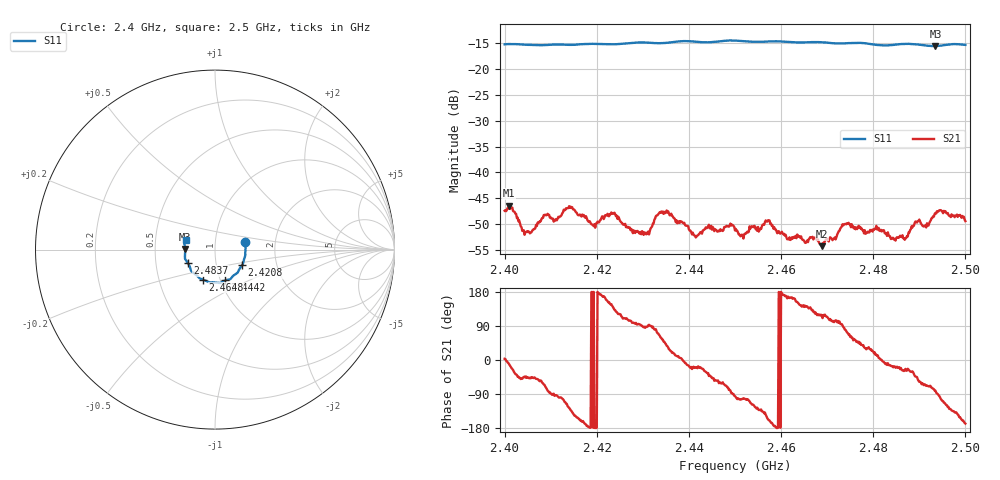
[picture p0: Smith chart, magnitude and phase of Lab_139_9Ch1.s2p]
# Hz S RI R 50
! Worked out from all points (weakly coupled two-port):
!   601 points, 2.4 GHz to 2.5 GHz, reference 50 ohm
!   highest |S21| = -46.41 dB at 2.401 GHz (marker M1); lowest = -54.3 dB at 2.4688 GHz (marker M2)
!   lowest |S11| = -15.6 dB at 2.4935 GHz (marker M3), VSWR 1.40, Z = 35.8 + j0.221 ohm
!   |S11| at or under -10 dB: start of sweep to end of sweep
!   S12 and S22 are empty: the file has one direction only
!   S11 on the Smith chart (normalised r, x): 2.4 GHz: 1.40, +0.12; 2.4208 GHz: 1.33, -0.24; 2.4442 GHz: 1.05, -0.37; 2.4648 GHz: 0.83, -0.29; 2.4837 GHz: 0.73, -0.11; 2.5 GHz: 0.72, +0.08
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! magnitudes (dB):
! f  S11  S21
! 2.4 GHz  -15.3  -47.4
! 2.401 GHz  -15.2  -46.4
! 2.4048 GHz  -15.3  -51.4
! 2.4138 GHz  -15.4  -46.9
! 2.4167 GHz  -15.2  -48.5
! 2.4208 GHz  -15.2  -49.2
! 2.4235 GHz  -15.2  -48.0
! 2.4308 GHz  -14.9  -51.9
! 2.4333 GHz  -15.0  -48.1
! 2.4415 GHz  -14.8  -52.6
! 2.4442 GHz  -14.9  -50.5
! 2.45 GHz  -14.5  -51.2
! 2.457 GHz  -14.7  -49.5
! 2.4648 GHz  -14.9  -53.1
! 2.4667 GHz  -14.8  -52.6
! 2.4688 GHz  -14.9  -54.3
! 2.4742 GHz  -15.1  -50.0
! 2.4833 GHz  -15.5  -52.1
! 2.4837 GHz  -15.4  -52.4
! 2.487 GHz  -15.2  -52.7
! 2.4935 GHz  -15.6  -47.8
! 2.5 GHz  -15.4  -49.4
